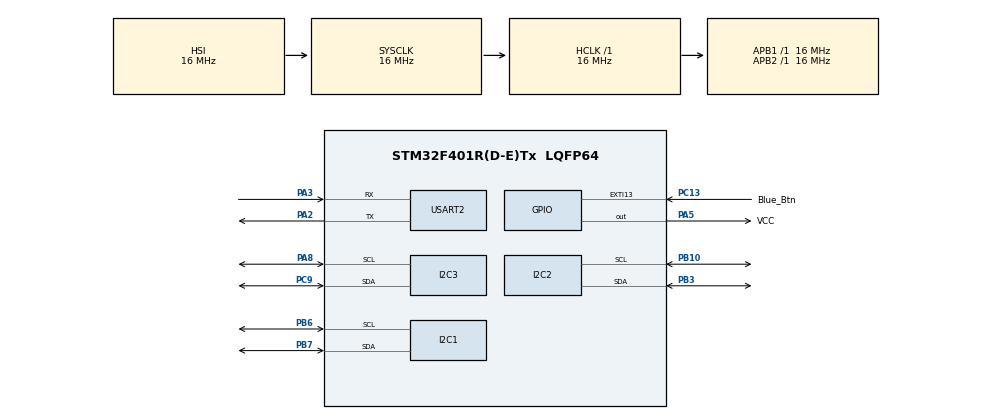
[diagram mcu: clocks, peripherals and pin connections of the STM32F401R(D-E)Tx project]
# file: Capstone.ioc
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I2C1.I2C_Mode=I2C_Standard
I2C2.I2C_Mode=I2C_Standard
I2C3.I2C_Mode=I2C_Standard
Mcu.Family=STM32F4
Mcu.Name=STM32F401R(D-E)Tx
Mcu.Package=LQFP64
NVIC.EXTI15_10_IRQn=true\:0\:0\:false\:false\:true\:true\:true\:true
NVIC.PriorityGroup=NVIC_PRIORITYGROUP_4
NVIC.USART2_IRQn=true\:0\:0\:false\:false\:true\:true\:true\:true
PA2.Mode=Asynchronous
PA2.Signal=USART2_TX
PA3.Mode=Asynchronous
PA3.Signal=USART2_RX
PA5.GPIO_Label=VCC
PA5.Signal=GPIO_Output
PA8.GPIO_Pu=GPIO_NOPULL
PA8.Mode=I2C
PA8.Signal=I2C3_SCL
PB10.GPIO_Pu=GPIO_NOPULL
PB10.Mode=I2C
PB10.Signal=I2C2_SCL
PB3.GPIO_Pu=GPIO_NOPULL
PB3.Mode=I2C
PB3.Signal=I2C2_SDA
PB6.GPIO_Pu=GPIO_NOPULL
PB6.Mode=I2C
PB6.Signal=I2C1_SCL
PB7.GPIO_Pu=GPIO_NOPULL
PB7.Mode=I2C
PB7.Signal=I2C1_SDA
PC13-ANTI_TAMP.GPIO_Label=Blue_Btn
PC13-ANTI_TAMP.Signal=GPXTI13
PC9.GPIO_Pu=GPIO_NOPULL
PC9.Mode=I2C
PC9.Signal=I2C3_SDA
ProjectManager.HeapSize=0x200
ProjectManager.StackSize=0x400
ProjectManager.TargetToolchain=STM32CubeIDE
RCC.AHBFreq_Value=16000000
RCC.APB1Freq_Value=16000000
RCC.APB2Freq_Value=16000000
RCC.CortexFreq_Value=16000000
RCC.HSE_VALUE=25000000
RCC.HSI_VALUE=16000000
RCC.LSE_VALUE=32768
RCC.SYSCLKFreq_VALUE=16000000
RCC.VCOOutputFreq_Value=192000000
USART2.Parity=PARITY_EVEN
USART2.VirtualMode=VM_ASYNC
USART2.WordLength=WORDLENGTH_9B
board=custom

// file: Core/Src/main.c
/* USER CODE BEGIN Header */
/**
  ******************************************************************************
  * @file           : main.c
  * @brief          : Main program body
  ******************************************************************************
  * @attention
  *
  * Copyright (c) 2024 STMicroelectronics.
  * All rights reserved.
  *
  * This software is licensed under terms that can be found in the LICENSE file
  * in the root directory of this software component.
  * If no LICENSE file comes with this software, it is provided AS-IS.
  *
  ******************************************************************************
  */
/* USER CODE END Header */
#include "main.h"
#include "i2c.h"
#include "usart.h"
#include "gpio.h"

/* USER CODE BEGIN Includes */
#include "hillclimbing.h"
#include "test_hillclimbing.h"
#include "perturb_and_observe.h"
#include "sweeppanels.h"
#include "sensorACS37800.h"
/* USER CODE END Includes */

/* USER CODE BEGIN PD */
#define BUFFERLENGTH 				128
#define DATALENGTH					12
#define DEBUG_CONFIGURATION_MODE 	0
#define TESTING_MODE				0
#define TESTING_HC					0
#define TESTING_I2C_COMMUNICATION	0
#define NUMBER_OF_CONVERTERS 		1
#define PERTURB_AND_OBSERVE 		1
#define HILL_CLIMBING 				2
#define SMART_ALGORITHM 			3
#define SWEEP_PANELS				4
/* USER CODE END PD */

void SystemClock_Config(void);

/* USER CODE BEGIN 0 */
uint8_t ReceiveCharacter;
uint8_t OutputBuffer[BUFFERLENGTH];
uint8_t Interrupt_Occurred = 0;
HAL_StatusTypeDef HAL_Status;
uint8_t Current_Mode = PERTURB_AND_OBSERVE;
SolarPanel SolarPanelsMain[NUMBER_OF_CONVERTERS];
uint8_t Test_Index = 1;

uint32_t Avg_Voltage = 0;
uint32_t Avg_Current = 0;
uint32_t Number_of_samples_for_avg = 50;
uint16_t Voltage;
uint16_t Current;
/* USER CODE END 0 */

int main(void)
{

  /* USER CODE BEGIN 1 */
  uint8_t Single_Converter_Index = 0;
  /* USER CODE END 1 */

  /* MCU Configuration--------------------------------------------------------*/

  /* Reset of all peripherals, Initializes the Flash interface and the Systick. */
  HAL_Init();

  /* Configure the system clock */
  SystemClock_Config();

  /* Initialize all configured peripherals */
  MX_GPIO_Init();
  MX_USART2_UART_Init();
  MX_I2C1_Init();
  MX_I2C2_Init();
  MX_I2C3_Init();
  /* USER CODE BEGIN 2 */
  if (DEBUG_CONFIGURATION_MODE) { // Configures each of the buck converter device addresses to prevent conflicts
	  Configure_Slave_AddressTPS55288(Single_Converter_Index);
	  Configure_Slave_AddressACS37800(Single_Converter_Index);
	  sprintf((char *)OutputBuffer, "Slave Addresses Configured\r\n");
	  PrintOutputBuffer(OutputBuffer);
	  while (1);
  }
  else if (TESTING_MODE) {
	  if (TESTING_HC) {
		  sprintf((char *)OutputBuffer, "Starting Tests\r\n");
		  PrintOutputBuffer(OutputBuffer);
		  TestSolarPanel_hc TestPanels[2];
		  uint8_t Converter_Index = 0;
		  int32_t Voltage = 1;
		  int32_t Current = 1;
		  Update_Test_Sensor_Values_hc(Voltage, Current);
		  TestInitialize_HillClimbing(2, TestPanels);

		  sprintf((char *)OutputBuffer, "Testing Voltage Increase, Should yield increasing message\r\n");
		  PrintOutputBuffer(OutputBuffer);
		  Voltage = 2;
		  Update_Test_Sensor_Values_hc(Voltage, Current);
		  TestUpdate_Panel_State_hc(Converter_Index, TestPanels);
		  sprintf((char *)OutputBuffer, "Previous Voltage: %ld, Current_Voltage: %ld\r\n", TestPanels[Converter_Index].Previous_Voltage, TestPanels[Converter_Index].Current_Voltage);
		  PrintOutputBuffer(OutputBuffer);

		  sprintf((char *)OutputBuffer, "Testing Voltage Decrease and Current Increase, Should yield decreasing message\r\n");
		  PrintOutputBuffer(OutputBuffer);
		  Voltage = 1;
		  Current = 3;
		  Update_Test_Sensor_Values_hc(Voltage, Current);
		  TestUpdate_Panel_State_hc(Converter_Index, TestPanels);
		  sprintf((char *)OutputBuffer, "Previous Voltage: %ld, Current_Voltage: %ld\r\n", TestPanels[Converter_Index].Previous_Voltage, TestPanels[Converter_Index].Current_Voltage);
		  PrintOutputBuffer(OutputBuffer);

		  sprintf((char *)OutputBuffer, "Testing Panel Reaching MPP\r\n");
		  PrintOutputBuffer(OutputBuffer);
		  TestUpdate_Panel_State_hc(Converter_Index, TestPanels);
		  sprintf((char *)OutputBuffer, "At_Mpp Value: %d\r\n", TestPanels[Converter_Index].At_MPP);
		  PrintOutputBuffer(OutputBuffer);

		  sprintf((char *)OutputBuffer, "Setting Second panel to have Current 6 and Voltage 4 Reaching MPP\r\n");
		  PrintOutputBuffer(OutputBuffer);
		  Voltage = 4;
		  Current = 6;
		  Converter_Index = 1;
		  Update_Test_Sensor_Values_hc(Voltage, Current);
		  TestUpdate_Panel_State_hc(Converter_Index, TestPanels);
		  TestUpdate_Panel_State_hc(Converter_Index, TestPanels);
		  sprintf((char *)OutputBuffer, "Voltage: %ld, Current: %ld, At_MPP: %d\r\n", TestPanels[Converter_Index].Current_Voltage, TestPanels[Converter_Index].Current_Current, TestPanels[Converter_Index].At_MPP);
		  PrintOutputBuffer(OutputBuffer);

		  sprintf((char *)OutputBuffer, "Testing First Panel Entering Partial Shading, Should yield increasing message\r\n");
		  PrintOutputBuffer(OutputBuffer);
		  Voltage = 1;
		  Current = 3;
		  Converter_Index = 0;
		  Update_Test_Sensor_Values_hc(Voltage, Current);
		  TestUpdate_Panel_State_hc(Converter_Index, TestPanels);
		  sprintf((char *)OutputBuffer, "Voltage: %ld, Current: %ld, Shading: %d, At_MPP: %d\r\n", TestPanels[Converter_Index].Current_Voltage, TestPanels[Converter_Index].Current_Current, TestPanels[Converter_Index].Shading_Conditions, TestPanels[Converter_Index].At_MPP);
		  PrintOutputBuffer(OutputBuffer);
	  }
	  if (TESTING_I2C_COMMUNICATION) {

	  }
	  while (1);
  }
  else {
	  sprintf((char *)OutputBuffer, "Communication Started\r\n");
	  PrintOutputBuffer(OutputBuffer);
	  sprintf((char *)OutputBuffer, "Receiving Character\r\n");
	  PrintOutputBuffer(OutputBuffer);
	  HAL_Status = HAL_UART_Receive_IT(&huart2, &ReceiveCharacter, 1);
  }

  HAL_GPIO_WritePin(VCC_GPIO_Port, VCC_Pin, GPIO_PIN_SET);
  HAL_StatusTypeDef HAL_Status = HAL_ERROR;
  uint8_t Index_of_Test = Test_Index;

  TestAddressesACS37800(Index_of_Test, I2C_ADDR_REGISTER + EEPROM, &HAL_Status);
//  Current_Average_Select_EnableACS37800(1);

  if (HAL_Status == HAL_OK) {
	sprintf((char *)OutputBuffer, "ACS Working\r\n");
  }
  else {
	sprintf((char *)OutputBuffer, "HAL Error\r\n");
  }
  PrintOutputBuffer(OutputBuffer);
  TestAddressesTPS55288(Index_of_Test, MODE, &HAL_Status);
  if (HAL_Status == HAL_OK) {
	  sprintf((char *)OutputBuffer, "TPS Working\r\n");
  }
  else {
	  sprintf((char *)OutputBuffer, "HAL Error\r\n");
  }
  PrintOutputBuffer(OutputBuffer);

  uint32_t ReadValue;
  /* USER CODE END 2 */

  /* Infinite loop */
  /* USER CODE BEGIN WHILE */
  while (1)
  {
	  for (int i = 0; i < Number_of_samples_for_avg; i++) {
//		  Read_Sensor_ValuesACS37800(Test_Index, &Voltage, &Current);
//		  Avg_Voltage = Avg_Voltage + (uint32_t) Voltage;
//		  Avg_Current = Avg_Current + (uint32_t) Current;
		  ReadValue = ReadBytesACS37800(Test_Index, CODES_REGISTER, &HAL_Status);
		  Voltage = ReadValue & 0xff;
		  Current = (ReadValue >> 16) & 0xff;
		  Avg_Voltage = Avg_Voltage + (uint32_t) Voltage;
		  Avg_Current = Avg_Current + (uint32_t) Current;
		  HAL_Delay(19);
	  }
	  sprintf((char *)OutputBuffer, "Voltage: %ld Current: %ld\r\n", Avg_Voltage / Number_of_samples_for_avg, Avg_Current / Number_of_samples_for_avg);
	  PrintOutputBuffer(OutputBuffer);
	  Avg_Voltage = 0;
	  Avg_Current = 0;

//	  if (Interrupt_Occurred) {
//	  	  Interrupt_Occurred = 0;
//	  	  HAL_Status = HAL_UART_Receive_IT(&huart2, &ReceiveCharacter, 1);
//	  	  if (Current_Mode == SWEEP_PANELS) {
//	  		  Increase_Converter_Reference_Voltage(8);
//	  	  }
//	  }
//	  switch (Current_Mode) {
//		  case PERTURB_AND_OBSERVE:
//			  Update_All_Panel_States_po(SolarPanelsMain);
//			  break;
//		  case HILL_CLIMBING:
//			  Update_All_Panel_States_hc(SolarPanelsMain);
//			  break;
//		  case SMART_ALGORITHM:
//
//			  break;
//	  }
//	  HAL_Delay(500);
    /* USER CODE END WHILE */

  }
}

void SystemClock_Config(void)
{
  RCC_OscInitTypeDef RCC_OscInitStruct = {0};
  RCC_ClkInitTypeDef RCC_ClkInitStruct = {0};

  /** Configure the main internal regulator output voltage
  */
  __HAL_RCC_PWR_CLK_ENABLE();
  __HAL_PWR_VOLTAGESCALING_CONFIG(PWR_REGULATOR_VOLTAGE_SCALE2);

  /** Initializes the RCC Oscillators according to the specified parameters
  * in the RCC_OscInitTypeDef structure.
  */
  RCC_OscInitStruct.OscillatorType = RCC_OSCILLATORTYPE_HSI;
  RCC_OscInitStruct.HSIState = RCC_HSI_ON;
  RCC_OscInitStruct.HSICalibrationValue = RCC_HSICALIBRATION_DEFAULT;
  RCC_OscInitStruct.PLL.PLLState = RCC_PLL_NONE;
  if (HAL_RCC_OscConfig(&RCC_OscInitStruct) != HAL_OK)
  {
    Error_Handler();
  }

  /** Initializes the CPU, AHB and APB buses clocks
  */
  RCC_ClkInitStruct.ClockType = RCC_CLOCKTYPE_HCLK|RCC_CLOCKTYPE_SYSCLK
                              |RCC_CLOCKTYPE_PCLK1|RCC_CLOCKTYPE_PCLK2;
  RCC_ClkInitStruct.SYSCLKSource = RCC_SYSCLKSOURCE_HSI;
  RCC_ClkInitStruct.AHBCLKDivider = RCC_SYSCLK_DIV1;
  RCC_ClkInitStruct.APB1CLKDivider = RCC_HCLK_DIV1;
  RCC_ClkInitStruct.APB2CLKDivider = RCC_HCLK_DIV1;

  if (HAL_RCC_ClockConfig(&RCC_ClkInitStruct, FLASH_LATENCY_0) != HAL_OK)
  {
    Error_Handler();
  }
}

/* USER CODE BEGIN 4 */
void HAL_GPIO_EXTI_Callback(uint16_t GPIO_Pin)
{
//	Update_Reference_Voltage_TPS55288(Test_Index, 1, 8);
	ReadBytesACS37800(Test_Index, RMSAVGONESEC_REGISTER, &HAL_Status);
	ReadBytesACS37800(Test_Index, RMS_REGISTER, &HAL_Status);
	ReadBytesACS37800(Test_Index, CODES_REGISTER, &HAL_Status);

//	WriteBytesACS37800(Test_Index, SEL_REGISTER, 0x00400000);
//	WriteBytesACS37800(Test_Index, SEL_REGISTER, 0);
//	ReadBytesACS37800(Test_Index, SEL_REGISTER, &HAL_Status);
//	uint8_t ReadValue = ReadByteTPS55288(0, IOUT_LIMIT, &HAL_Status) & IOUT_LIMIT_MASK;
//	WriteByteTPS55288(0, IOUT_LIMIT, ReadValue);
//	Enable_Output_TPS55288(0);
//	ReadByteTPS55288(0, STATUS, &HAL_Status);

//	uint8_t BytesToSend[20];
//	BytesToSend[0] = 0x0b;
//	uint8_t BytesToSend2[9] = {0x0b, 0x00, 0x00, 0x40, 0x00, 0x7e, 0x00, 0x00, 0x00};
//	WriteBytesACS37800(0, 0x1c, 126);
//	HAL_I2C_Master_Transmit(&hi2c1, 0x61 << 1, BytesToSend2, 9, HAL_MAX_DELAY);
//	HAL_I2C_Master_Transmit(&hi2c1, 0x61 << 1, BytesToSend, 1, HAL_MAX_DELAY);
//	HAL_I2C_Master_Receive(&hi2c1, 0x61 << 1, BytesToSend, 20, HAL_MAX_DELAY);
}

void HAL_UART_RxCpltCallback(UART_HandleTypeDef *huart)
{
  if (TESTING_MODE) return;
  Interrupt_Occurred = 1;
  HAL_Status = HAL_UART_Receive_IT(&huart2, &ReceiveCharacter, 1);
  if (ReceiveCharacter == '0') {
	  float Voltage;
	  float Current;
	  float Power;
//	  Read_Sensor_ValuesACS37800(NUMBER_OF_CONVERTERS - 1, &Voltage, &Current);
	  Get_Sensor_Values_for_Panel_hc_test(NUMBER_OF_CONVERTERS - 1, &Voltage, &Current);
//	  Voltage = 20;
//	  Current = 30;
	  Power = Calculate_Power_hc(Voltage, Current);
	  memcpy(OutputBuffer, &Voltage, 4);
	  memcpy(OutputBuffer + 4, &Current, 4);
	  memcpy(OutputBuffer + 8, &Power, 4);
	  OutputBuffer[DATALENGTH] = '\0';
	  PrintOutputData(OutputBuffer);
  }
  else if (ReceiveCharacter == '1') {
	  sprintf((char *)OutputBuffer, "P&O");
	  PrintOutputBuffer(OutputBuffer);
	  Current_Mode = PERTURB_AND_OBSERVE;
//	  Initialize_PerturbAndObserve(NUMBER_OF_CONVERTERS, SolarPanels);
  }
  else if (ReceiveCharacter == '2') {
	  sprintf((char *)OutputBuffer, "HC");
	  PrintOutputBuffer(OutputBuffer);
	  Current_Mode = HILL_CLIMBING;
	  Initialize_HillClimbing(NUMBER_OF_CONVERTERS, SolarPanelsMain);
  }
  else if (ReceiveCharacter == '3') {
	  sprintf((char *)OutputBuffer, "SA");
	  PrintOutputBuffer(OutputBuffer);
	  Current_Mode = SMART_ALGORITHM;

  }
  else if (ReceiveCharacter == '4') {
	  sprintf((char *)OutputBuffer, "PS");
	  PrintOutputBuffer(OutputBuffer);
	  Current_Mode = SWEEP_PANELS;
//	  Reset_Converters(NUMBER_OF_CONVERTERS);
  }
}
/* USER CODE END 4 */

void Error_Handler(void)
{
  __disable_irq();
  while (1)
  {
  }
}
